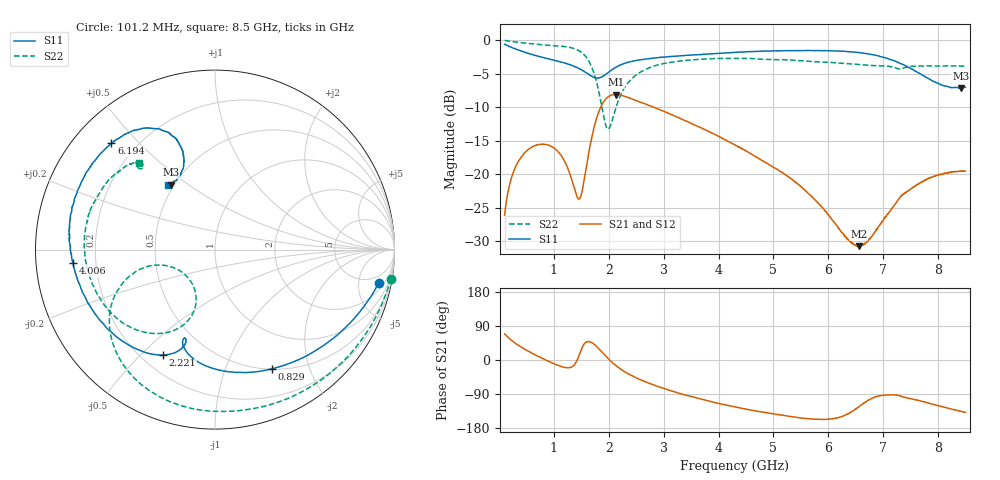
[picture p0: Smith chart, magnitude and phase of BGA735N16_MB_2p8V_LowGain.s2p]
! S-Parameter file
! MATLAB S2P writer
! (c) DICE Linz
! Infineon Technologies
! Date: 09.09.2009 10:29
!BGA735N16
!2.80V; 0.00V;
!25.00 deg
# MHZ S MA R 50
!  S11  S21  S12  S22
!  f  mag  angle  mag  angle  mag  angle  mag  angle
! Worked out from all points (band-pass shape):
!   1582 points, 101.2 MHz to 8.5 GHz, reference 50 ohm
!   highest |S21| = -8.12 dB at 2.125 GHz (marker M1); lowest = -30.7 dB at 6.556 GHz (marker M2)
!   |S21| within 3 dB of the highest: 1.799 GHz to 3.144 GHz (1.345 GHz wide, 54.4 % of centre)
!   lowest |S11| = -7.2 dB at 8.415 GHz (marker M3), VSWR 2.55, Z = 24.1 + j21.5 ohm
!   |S11| at or under -10 dB: nowhere
!   |S22| runs from -13.3 to -0.1 dB; largest |S21 - S12| = 0.0024
!   S11 on the Smith chart (normalised r, x): 101.2 MHz: 3.19, -8.78; 829 MHz: 0.51, -1.46; 2.221 GHz: 0.28, -0.59; 4.006 GHz: 0.11, -0.05; 6.194 GHz: 0.11, +0.42; 8.5 GHz: 0.47, +0.42
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101.2339  0.9301 -11.5  0.0495 68.8  0.04983 68.9  0.9921 -9.4
356.2249  0.8402 -32.5  0.1255 38.2  0.1259 38.3  0.9598 -31.0
829.0208  0.7358 -64.5  0.1674 1.5  0.1673 1.5  0.9184 -68.7
1200.883  0.673 -87.6  0.1241 -19.8  0.1244 -20.0  0.8927 -99.8
1424  0.6227 -100.6  0.06756 -0.1  0.06791 -0.4  0.8462 -122.0
1503.684  0.5993 -104.6  0.07174 29.5  0.07201 29.3  0.8079 -131.0
1663.054  0.5447 -109.4  0.1668 47.6  0.1676 47.6  0.6635 -151.1
1827.736  0.5224 -108.3  0.2992 28.5  0.2996 28.5  0.3962 -166.0
1976.48  0.5669 -108.0  0.3739 5.4  0.3741 5.3  0.2176 -139.9
2125.225  0.6253 -112.3  0.3928 -14.3  0.3924 -14.5  0.3097 -109.9
2220.847  0.6552 -116.2  0.3882 -24.6  0.3887 -24.9  0.3922 -109.5
2502.399  0.7038 -127.9  0.354 -47.2  0.3549 -47.3  0.5502 -122.1
2900.823  0.7397 -141.8  0.3064 -70.0  0.3068 -70.0  0.654 -140.8
4005.784  0.7955 -174.5  0.1915 -114.6  0.1916 -114.7  0.7292 177.6
4303.273  0.8076 178.1  0.1651 -123.9  0.1659 -124.0  0.7309 168.8
5700.411  0.8341 147.5  0.06822 -155.4  0.06858 -155.8  0.6914 141.1
6194.456  0.827 134.3  0.0396 -151.7  0.03946 -151.8  0.6738 135.1
6555.694  0.8067 125.1  0.02917 -123.3  0.02958 -124.2  0.6566 132.6
7102.862  0.7229 113.5  0.05183 -92.0  0.05175 -92.2  0.6373 130.5
7761.589  0.5327 108.9  0.09028 -110.8  0.0902 -111.2  0.6407 132.5
8415.003  0.4365 124.1  0.1056 -135.3  0.1051 -135.8  0.6394 131.5
8500  0.4452 125.9  0.1057 -138.4  0.1053 -138.5  0.6399 131.1
